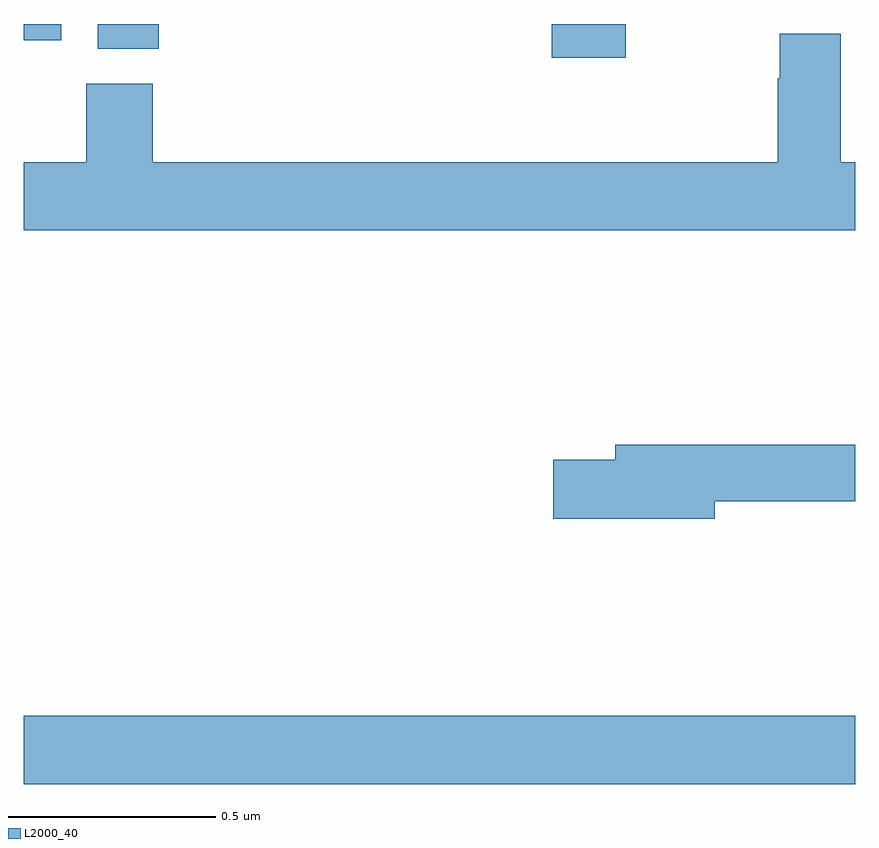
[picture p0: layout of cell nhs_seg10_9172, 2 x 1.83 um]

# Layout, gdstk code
import gdstk
lib = gdstk.Library(unit=1e-6, precision=1e-09)
def R(c, l, rs):  # rectangles x0, y0, x1, y1
    for r in rs: c.add(gdstk.rectangle(r[:2], r[2:], *l))
def P(c, l, *ps):  # polygons
    for p in ps: c.add(gdstk.Polygon(p, *l))
L2000_40 = (2000, 40)

nhs_seg10_9172 = lib.new_cell('nhs_seg10_9172')
R(nhs_seg10_9172, L2000_40, [(226,1277.672,228,1277.836), (227.27,1279.419,227.448,1279.5), (226.178,1279.441,226.325,1279.5), (226,1279.461,226.09,1279.5)])
P(nhs_seg10_9172, L2000_40, [(228,1279.168),(227.965,1279.168),(227.965,1279.477),(227.818,1279.477),(227.818,1279.37),(227.813,1279.37),(227.813,1279.168),(226.31,1279.168),(226.31,1279.356),(226.15,1279.356),(226.15,1279.168),(226,1279.168),(226,1279.004),(228,1279.004)],
  [(227.662,1278.352),(228,1278.352),(228,1278.488),(227.423,1278.488),(227.423,1278.452),(227.274,1278.452),(227.274,1278.31),(227.662,1278.31)])

lib.write_gds('nhs_seg10_9172.gds')
